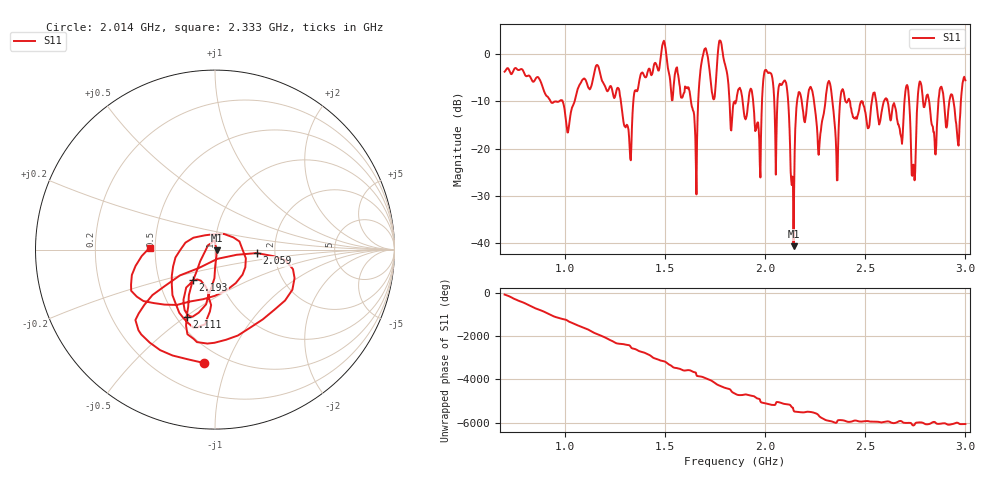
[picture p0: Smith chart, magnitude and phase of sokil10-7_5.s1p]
# HZ S RI R 50
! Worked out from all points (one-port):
!   808 points, 700 MHz to 3 GHz, reference 50 ohm
!   lowest |S11| = -40.6 dB at 2.142 GHz (marker M1), VSWR 1.02, Z = 50.8 - j0.405 ohm
!   |S11| at or under -10 dB: 989.9 MHz to 1.049 GHz (59.43 MHz wide, 5.83 % of centre); 1.28 GHz to 1.343 GHz (62.14 MHz wide, 4.74 % of centre); 2.612 GHz to 2.696 GHz (84.43 MHz wide, 3.18 % of centre)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
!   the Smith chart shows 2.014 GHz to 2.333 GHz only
!   S11 on the Smith chart (normalised r, x): 2.014 GHz: 0.39, -0.83; 2.059 GHz: 1.61, -0.07; 2.111 GHz: 0.56, -0.51; 2.193 GHz: 0.74, -0.27; 2.333 GHz: 0.47, +0.01
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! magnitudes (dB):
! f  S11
! 700 MHz  -3.7
! 987.9 MHz  -9.8
! 1.276 GHz  -8.8
! 1.324 GHz  -20.0
! 1.384 GHz  -4.0
! 1.564 GHz  -3.9
! 1.652 GHz  -17.6
! 1.698 GHz  1.0
! 1.851 GHz  -10.5
! 1.968 GHz  -16.0
! 2.014 GHz  -3.9
! 2.059 GHz  -12.6
! 2.111 GHz  -7.8
! 2.139 GHz  -27.2
! 2.142 GHz  -40.6
! 2.165 GHz  -8.8
! 2.193 GHz  -13.6
! 2.333 GHz  -8.8
! 2.356 GHz  -21.2
! 2.384 GHz  -7.7
! 2.427 GHz  -11.2
! 2.715 GHz  -7.8
! 2.741 GHz  -23.4
! 2.772 GHz  -5.8
! 2.846 GHz  -18.2
! 2.877 GHz  -7.0
! 2.963 GHz  -18.8
! 3 GHz  -5.6
